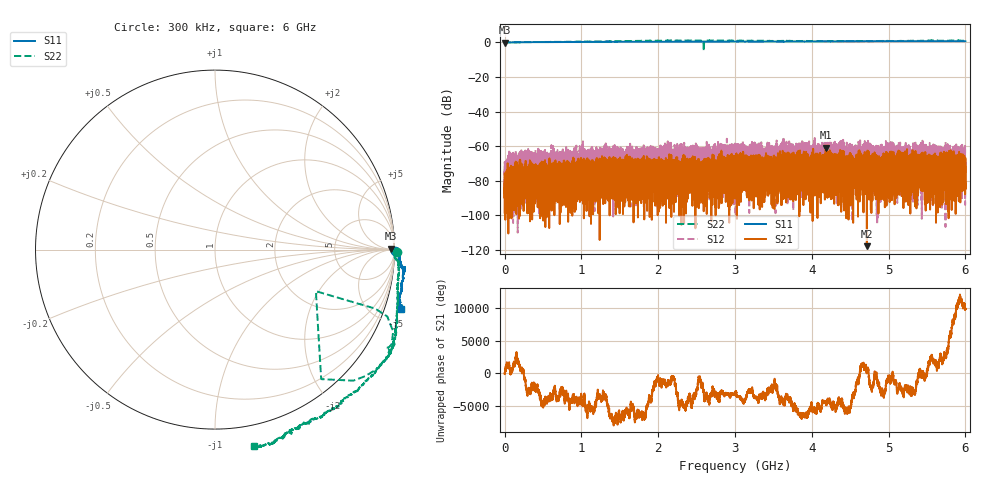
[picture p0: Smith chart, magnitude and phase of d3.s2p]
!Agilent Technologies,N5230C,SG49000117,A.08.50.07
!Agilent N5230C: A.08.50.07
!Date: Thursday, May 16, 2024 18:07:18
!Correction: S11(Full 2 Port(1,2))
!S21(Full 2 Port(1,2))
!S12(Full 2 Port(1,2))
!S22(Full 2 Port(1,2))
!S2P File: Measurements: S11, S21, S12, S22:
# Hz S  MA  R 50
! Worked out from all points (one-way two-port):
!   20001 points, 300 kHz to 6 GHz, reference 50 ohm
!   highest |S21| = -60.87 dB at 4.181 GHz (marker M1); lowest = -117.8 dB at 4.717 GHz (marker M2)
!   lowest |S11| = -0.2 dB at 600 kHz (marker M3), VSWR 113.25, Z = 5.31e+03 + j1.37e+03 ohm
!   |S11| at or under -10 dB: nowhere
!   |S22| runs from -5.0 to 1.1 dB; largest |S21 - S12| = 0.0019
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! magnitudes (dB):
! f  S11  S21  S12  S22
! 300 kHz  0.0  -75.8  -73.0  0.1
! 600 kHz  -0.2  -87.0  -76.5  -0.3
! 205.5 MHz  0.1  -70.1  -73.3  0.1
! 1 GHz  0.3  -74.3  -69.0  0.4
! 2 GHz  0.5  -70.5  -64.4  1.0
! 2.141 GHz  0.5  -82.7  -66.4  1.0
! 2.252 GHz  0.5  -73.2  -71.1  1.1
! 2.567 GHz  0.5  -78.5  -67.7  1.0
! 2.627 GHz  0.5  -67.3  -78.8  0.9
! 3 GHz  0.5  -77.5  -58.4  1.0
! 3.227 GHz  0.5  -77.9  -61.3  0.9
! 3.385 GHz  0.5  -78.9  -81.7  0.9
! 3.645 GHz  0.5  -76.3  -59.8  0.9
! 3.937 GHz  0.5  -78.7  -58.3  0.9
! 4 GHz  0.5  -64.9  -63.4  0.9
! 4.181 GHz  0.6  -60.9  -71.4  0.7
! 4.554 GHz  0.7  -69.0  -76.9  0.8
! 4.717 GHz  0.7  -117.8  -64.9  0.8
! 5 GHz  0.7  -64.3  -61.0  0.8
! 5.824 GHz  0.7  -69.8  -65.0  1.1
! 5.97 GHz  0.7  -67.1  -68.2  1.0
! 6 GHz  0.7  -81.8  -69.5  1.0
